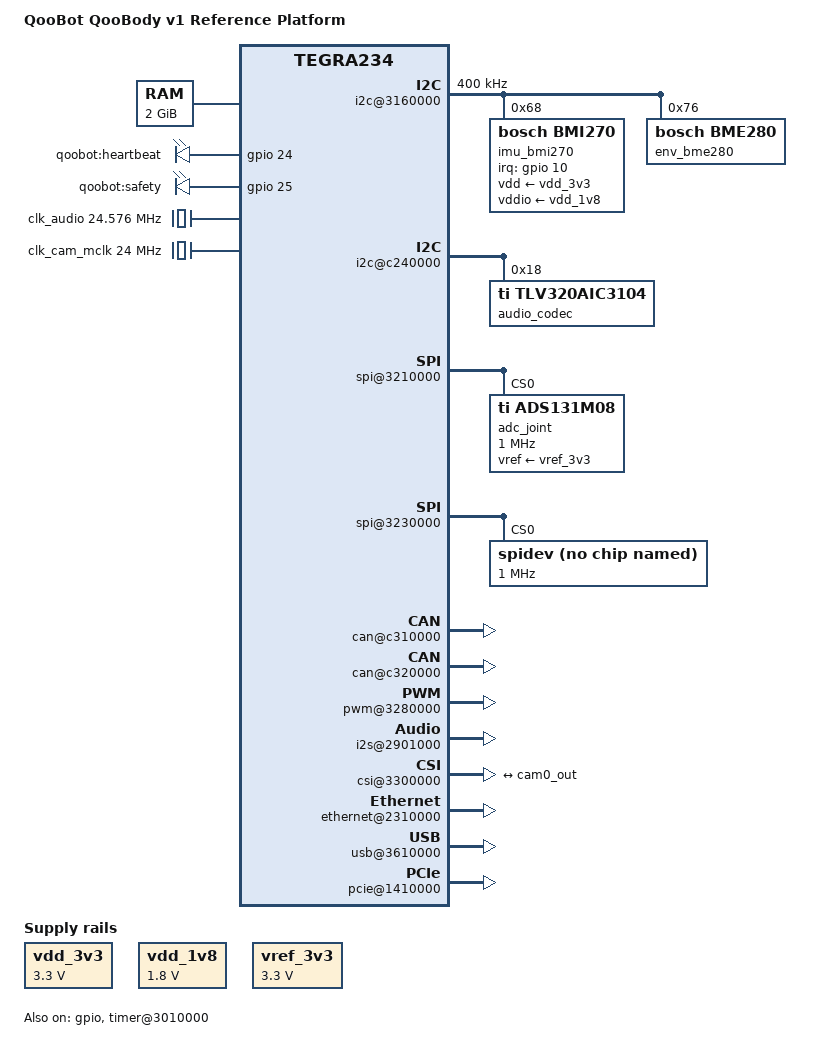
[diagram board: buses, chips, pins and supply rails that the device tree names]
// QooBot 参考平台设备树 (Device Tree Source)
// 适用 SoC: NVIDIA Tegra Orin / Rockchip RK3588 (示例)
// 编译: dtc -I dts -O dtb -o qoo_body_v1.dtb qoo_device_tree.dts

/dts-v1/;
/plugin/;

#include <dt-bindings/gpio/gpio.h>
#include <dt-bindings/clock/tegra234-clock.h>  // 按 SoC 替换
#include <dt-bindings/interrupt-controller/irq.h>

/ {
    model = "QooBot QooBody v1 Reference Platform";
    compatible = "qoobot,body-v1", "nvidia,tegra234";  // 按 SoC 调整

    // ======== 内存 ========
    memory@80000000 {
        device_type = "memory";
        reg = <0x0 0x80000000 0x0 0x80000000>;  // 2GB 示例，实际按板子配置
    };

    reserved-memory {
        #address-cells = <2>;
        #size-cells = <2>;
        ranges;

        // 安全 MCU 共享内存 (用于与主控通信)
        safety_shared_mem: shm@90000000 {
            compatible = "qoobot,safety-shm";
            reg = <0x0 0x90000000 0x0 0x1000>;  // 4KB
            no-map;
        };

        // NPU 固件保留内存
        npu_fw_mem: npu-fw@9a000000 {
            compatible = "shared-dma-pool";
            reg = <0x0 0x9a000000 0x0 0x800000>;  // 8MB
            no-map;
        };
    };

    // ======== 选择器中禁用 unused 时钟/电源 (降低功耗) ========
    // 由内核自动管理

    // ======== 控制 SoC 节点 ========
    soc {
        // ---- I2C 总线 0: IMU + 温湿度传感器 ----
        i2c@3160000 {
            compatible = "nvidia,tegra234-i2c";
            reg = <0x0 0x3160000 0x0 0x10000>;
            interrupts = <0 27 IRQ_TYPE_LEVEL_HIGH>;
            #address-cells = <1>;
            #size-cells = <0>;
            clock-frequency = <400000>;  // 400kHz
            status = "okay";

            // BMI270 IMU (6轴)
            imu_bmi270: imu@68 {
                compatible = "bosch,bmi270";
                reg = <0x68>;
                interrupt-parent = <&gpio>;
                interrupts = <10 IRQ_TYPE_EDGE_RISING>;  // GPIO 10 作为中断
                vdd-supply = <&vdd_3v3>;
                vddio-supply = <&vdd_1v8>;
            };

            // BME280 温湿度传感器
            env_bme280: env@76 {
                compatible = "bosch,bme280";
                reg = <0x76>;
            };
        };

        // ---- I2C 总线 1: 麦克风阵列编解码器 ----
        i2c@c240000 {
            compatible = "nvidia,tegra234-i2c";
            reg = <0x0 0xc240000 0x0 0x10000>;
            #address-cells = <1>;
            #size-cells = <0>;
            status = "okay";

            // TLV320AIC3104 音频编解码器 (连接麦克风阵列)
            audio_codec: codec@18 {
                compatible = "ti,tlv320aic3104";
                reg = <0x18>;
                #sound-dai-cells = <0>;
                clocks = <&clk_audio>;
                clock-names = "mclk";
            };
        };

        // ---- SPI 总线 0: ADC (关节力矩传感器) ----
        spi@3210000 {
            compatible = "nvidia,tegra234-spi";
            reg = <0x0 0x3210000 0x0 0x10000>;
            #address-cells = <1>;
            #size-cells = <0>;
            num-cs = <1>;
            status = "okay";

            // ADS131M08 24-bit ADC (8通道，读取关节力矩)
            adc_joint: adc@0 {
                compatible = "ti,ads131m08";
                reg = <0>;
                spi-max-frequency = <1000000>;
                vref-supply = <&vref_3v3>;
            };
        };

        // ---- SPI 总线 1: 触摸屏 / 外部 SPI 设备 ----
        spi@3230000 {
            compatible = "nvidia,tegra234-spi";
            reg = <0x0 0x3230000 0x0 0x10000>;
            status = "okay";

            // 用户态 SPI 设备 (spidev)
            spidev@0 {
                compatible = "rohm,dh2228fv";
                reg = <0>;
                spi-max-frequency = <1000000>;
            };
        };

        // ---- CAN FD 控制器 0: 电机控制总线 ----
        can@c310000 {
            compatible = "nvidia,tegra234-can";
            reg = <0x0 0xc310000 0x0 0x10000>;
            interrupts = <0 60 IRQ_TYPE_LEVEL_HIGH>;
            clocks = <&clk_can0>;
            clock-names = "can";
            status = "okay";

            // 设备树中配置位时序（示例: 1Mbps 仲裁 + 5Mbps 数据）
            // 实际由 ip link set can0 type can bitrate 1000000 dbitrate 5000000 fd on 配置
        };

        // ---- CAN FD 控制器 1: 传感器/安全总线 ----
        can@c320000 {
            compatible = "nvidia,tegra234-can";
            reg = <0x0 0xc320000 0x0 0x10000>;
            status = "okay";
        };

        // ---- GPIO 控制器 ----
        gpio: gpio@2200000 {
            compatible = "nvidia,tegra234-gpio";
            reg = <0x0 0x2200000 0x0 0x10000>;
            interrupts = <0 32 IRQ_TYPE_LEVEL_HIGH>;
            #gpio-cells = <2>;
            gpio-controller;
            interrupt-controller;
            #interrupt-cells = <2>;
            status = "okay";

            // GPIO 管脚用途定义
            //  GPIO 10: IMU 中断
            //  GPIO 20: 急停输入 1 (NC)
            //  GPIO 21: 急停输入 2 (NC)
            //  GPIO 22: 安全继电器控制
            //  GPIO 23: 全局抱闸控制
            //  GPIO 24: 系统心跳 LED
        };

        // ---- PWM: 相机触发信号 ----
        pwm@3280000 {
            compatible = "nvidia,tegra234-pwm";
            reg = <0x0 0x3280000 0x0 0x10000>;
            #pwm-cells = <2>;
            status = "okay";

            // PWM 通道 0: 相机 FSIN 触发 (30Hz/60Hz)
            // PWM 通道 1: 伺服使能 PWM (如有)
        };

        // ---- I2S/TDM: 麦克风阵列音频接口 ----
        i2s@2901000 {
            compatible = "nvidia,tegra234-i2s";
            reg = <0x0 0x2901000 0x0 0x10000>;
            clocks = <&clk_i2s1>;
            clock-names = "i2s";
            #sound-dai-cells = <0>;
            status = "okay";

            // TDM 模式: 8 通道 (8 麦克风)
            // 采样率: 48kHz, 位深: 24-bit
            qcom,tdm-slots = <8>;
            qcom,tdm-slot-width = <32>;
        };

        // ---- MIPI CSI-2: 相机接口 ----
        // 以下节点通常由相机传感器驱动动态注册
        csi@3300000 {
            compatible = "nvidia,tegra234-csi";
            reg = <0x0 0x3300000 0x0 0x10000>;
            status = "okay";

            // 4-lane MIPI CSI-2 接口 (相机 0: 前视 RGB)
            port@0 {
                csi_in0: endpoint {
                    remote-endpoint = <&cam0_out>;
                    data-lanes = <1 2 3 4>;
                };
            };
        };

        // ---- 以太网: EtherCAT 主站 ----
        ethernet@2310000 {
            compatible = "nvidia,tegra234-ether";
            reg = <0x0 0x2310000 0x0 0x10000>;
            interrupts = <0 67 IRQ_TYPE_LEVEL_HIGH>;
            // EtherCAT 主站使用此接口
            // 要求: 支持 PTP (IEEE 1588)
            // 要求: 支持硬件时间戳
            nvidia,phy-iface = "rgmii";
            status = "okay";
        };

        // ---- USB 3.0: 外部传感器 / 调试 ----
        usb@3610000 {
            compatible = "nvidia,tegra234-xhci";
            reg = <0x0 0x3610000 0x0 0x10000>;
            interrupts = <0 129 IRQ_TYPE_LEVEL_HIGH>;
            status = "okay";
        };

        // ---- PCIe: NVMe SSD / 扩展卡 ----
        pcie@1410000 {
            compatible = "nvidia,tegra234-pcie";
            reg = <0x0 0x1410000 0x0 0x10000>;
            interrupts = <0 72 IRQ_TYPE_LEVEL_HIGH>;
            // NVMe SSD 连接在此
            status = "okay";
        };

        // ---- 高精度定时器 (用于实时控制) ----
        timer@3010000 {
            compatible = "nvidia,tegra234-timer";
            reg = <0x0 0x3010000 0x0 0x10000>;
            interrupts = <0 13 IRQ_TYPE_LEVEL_HIGH>;
            // 用于 1kHz 运动控制中断
            status = "okay";
        };
    };

    // ======== 声卡 (麦克风阵列) ========
    sound {
        compatible = "simple-audio-card";
        simple-audio-card,name = "QooBot-Audio";
        simple-audio-card,format = "tdm";
        simple-audio-card,bitclock-master = <&snd_cpu>;
        simple-audio-card,frame-master = <&snd_cpu>;

        snd_cpu: simple-audio-card,cpu {
            sound-dai = <&i2s0>;
        };

        simple-audio-card,codec {
            sound-dai = <&audio_codec>;
            clocks = <&clk_audio>;
            clock-names = "mclk";
        };
    };

    // ======== LED 指示 ========
    leds {
        compatible = "gpio-leds";

        // 系统心跳 LED
        led-heartbeat {
            label = "qoobot:heartbeat";
            gpios = <&gpio 24 GPIO_ACTIVE_HIGH>;
            linux,default-trigger = "heartbeat";
        };

        // 安全状态 LED (由安全 MCU 控制，此处为内核控制示例)
        led-safety {
            label = "qoobot:safety";
            gpios = <&gpio 25 GPIO_ACTIVE_HIGH>;
            // 由用户态安全守护进程控制
        };
    };

    // ======== 电源管理 IC (PMIC) 参考节点 ========
    // 按实际 PMIC 型号配置
    // pmic@3c { ... };

    // ======== 时钟配置 ========
    clocks {
        // 音频主时钟 ( codec MCLK)
        clk_audio: codec-mclk {
            compatible = "fixed-clock";
            #clock-cells = <0>;
            clock-frequency = <24576000>;  // 24.576 MHz (48kHz * 512)
        };

        // 相机参考时钟
        clk_cam_mclk: cam-mclk {
            compatible = "fixed-clock";
            #clock-cells = <0>;
            clock-frequency = <24000000>;  // 24 MHz
        };
    };

    // ======== 电压调节器 (Regulators) ========
    vdd_3v3: regulator-3v3 {
        compatible = "regulator-fixed";
        regulator-name = "VDD_3V3";
        regulator-min-microvolt = <3300000>;
        regulator-max-microvolt = <3300000>;
        regulator-always-on;
    };

    vdd_1v8: regulator-1v8 {
        compatible = "regulator-fixed";
        regulator-name = "VDD_1V8";
        regulator-min-microvolt = <1800000>;
        regulator-max-microvolt = <1800000>;
        regulator-always-on;
    };

    vref_3v3: regulator-vref {
        compatible = "regulator-fixed";
        regulator-name = "VREF_3V3";
        regulator-min-microvolt = <3300000>;
        regulator-max-microvolt = <3300000>;
    };
};

// ======== 插件覆盖 (Device Tree Overlay) ========
// 用于在基础 DTS 上动态添加/修改节点
// 编译: dtc -I dts -O dtb -o qoo_extra.dtbo qoo_extra.dts

/ {
    // 示例: 添加外部 2D LiDAR (UART 接口)
    // 通常在运行时通过 UUID 加载 overlay，此处仅为示例
};
